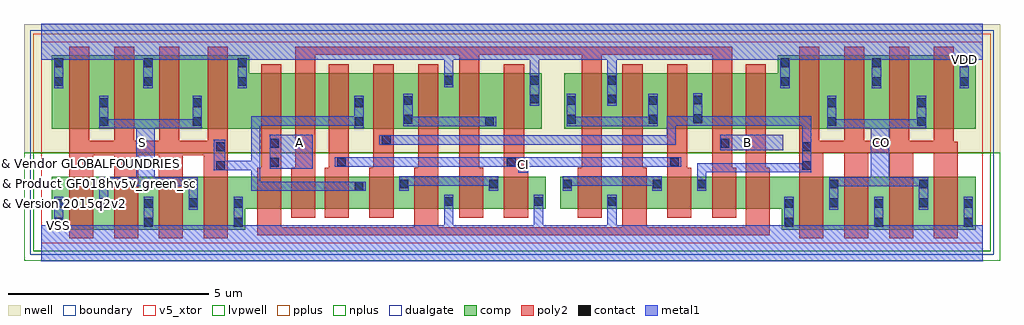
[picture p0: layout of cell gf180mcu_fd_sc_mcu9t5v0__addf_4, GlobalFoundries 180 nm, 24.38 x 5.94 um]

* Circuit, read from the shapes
.subckt gf180mcu_fd_sc_mcu9t5v0__addf_4 A B CI CO S VDD VSS
XM1 S n1 VSS VSUBS nfet_05v0 w=1.32u l=0.6u m=4
XM2 n2 A VSS VSUBS nfet_05v0 w=0.8u l=0.6u
XM3 n3 B n2 VSUBS nfet_05v0 w=0.8u l=0.6u
XM4 n1 CI n3 VSUBS nfet_05v0 w=0.8u l=0.6u
XM5 n4 n5 n1 VSUBS nfet_05v0 w=0.8u l=0.6u
XM6 VSS A n4 VSUBS nfet_05v0 w=0.8u l=0.6u
XM7 n4 B VSS VSUBS nfet_05v0 w=0.8u l=0.6u
XM8 VSS CI n4 VSUBS nfet_05v0 w=0.8u l=0.6u
XM9 VSS B n6 VSUBS nfet_05v0 w=0.8u l=0.6u
XM10 n6 A VSS VSUBS nfet_05v0 w=0.8u l=0.6u
XM11 n5 CI n6 VSUBS nfet_05v0 w=0.8u l=0.6u
XM12 n7 B n5 VSUBS nfet_05v0 w=0.8u l=0.6u
XM13 VSS A n7 VSUBS nfet_05v0 w=0.8u l=0.6u
XM14 CO n5 VSS VSUBS nfet_05v0 w=1.32u l=0.6u m=4
XM15 S n1 VDD n8 pfet_05v0 w=1.83u l=0.5u m=4
XM16 n9 A VDD n8 pfet_05v0 w=1.39u l=0.5u
XM17 n10 B n9 n8 pfet_05v0 w=1.39u l=0.5u
XM18 n1 CI n10 n8 pfet_05v0 w=1.39u l=0.5u
XM19 n11 n5 n1 n8 pfet_05v0 w=1.39u l=0.5u
XM20 VDD A n11 n8 pfet_05v0 w=1.39u l=0.5u
XM21 n11 B VDD n8 pfet_05v0 w=1.39u l=0.5u
XM22 VDD CI n11 n8 pfet_05v0 w=1.39u l=0.5u
XM23 VDD B n12 n8 pfet_05v0 w=1.39u l=0.5u
XM24 n12 A VDD n8 pfet_05v0 w=1.39u l=0.5u
XM25 n5 CI n12 n8 pfet_05v0 w=1.39u l=0.5u
XM26 n13 B n5 n8 pfet_05v0 w=1.39u l=0.5u
XM27 VDD A n13 n8 pfet_05v0 w=1.39u l=0.5u
XM28 CO n5 VDD n8 pfet_05v0 w=1.83u l=0.5u m=4
.ends

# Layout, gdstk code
import gdstk
lib = gdstk.Library(unit=1e-6, precision=1e-09)
def R(c, l, rs):  # rectangles x0, y0, x1, y1
    for r in rs: c.add(gdstk.rectangle(r[:2], r[2:], *l))
def A(c, l, x, y, w, h, nx, ny, dx, dy):  # array of equal rectangles
    R(c, l, [(x+i*dx, y+j*dy, x+i*dx+w, y+j*dy+h) for i in range(nx) for j in range(ny)])
def P(c, l, *ps):  # polygons
    for p in ps: c.add(gdstk.Polygon(p, *l))
boundary = (0, 0)
nwell = (21, 0)
comp = (22, 0)
poly2 = (30, 0)
pplus = (31, 0)
nplus = (32, 0)
contact = (33, 0)
metal1 = (34, 0)
dualgate = (55, 0)
v5_xtor = (112, 1)
lvpwell = (204, 0)

gf180mcu_fd_sc_mcu9t5v0_ = lib.new_cell('gf180mcu_fd_sc_mcu9t5v0__addf_4')
R(gf180mcu_fd_sc_mcu9t5v0_, boundary, [(0,0,23.52,5.04)])
R(gf180mcu_fd_sc_mcu9t5v0_, nwell, [(-0.43,2.265,23.95,5.47)])
P(gf180mcu_fd_sc_mcu9t5v0_, comp, [(0.26,2.865),(0.26,4.695),(5.2,4.695),(5.2,4.255),(12.5,4.255),(12.5,2.865)],
  [(0.26,0.345),(0.26,1.665),(12.6,1.665),(12.6,0.865),(5.1,0.865),(5.1,0.345)],
  [(18.5,0.345),(18.5,0.865),(12.96,0.865),(12.96,1.665),(23.34,1.665),(23.34,0.345)],
  [(13.06,2.865),(13.06,4.255),(18.4,4.255),(18.4,4.695),(23.34,4.695),(23.34,2.865)])
P(gf180mcu_fd_sc_mcu9t5v0_, poly2, [(0.7,0.125),(0.7,4.915),(1.2,4.915),(1.2,2.565),(1.82,2.565),(1.82,4.915),(2.32,4.915),(2.32,2.565),(2.945,2.565),(2.945,4.915),(3.445,4.915),(3.445,2.565),(4.16,2.565),(4.16,4.915),(4.66,4.915),(4.66,0.125),(4.06,0.125),(4.06,2.205),(3.54,2.205),(3.54,0.125),(2.94,0.125),(2.94,2.205),(2.42,2.205),(2.42,0.125),(1.82,0.125),(1.82,2.205),(1.3,2.205),(1.3,0.125)],
  [(7.08,0.645),(7.08,1.885),(7.18,1.885),(7.18,4.475),(7.68,4.475),(7.68,0.645)],
  [(8.2,0.645),(8.2,1.885),(8.3,1.885),(8.3,4.475),(8.8,4.475),(8.8,0.645)],
  [(11.56,0.645),(11.56,4.475),(12.06,4.475),(12.06,1.885),(12.16,1.885),(12.16,0.645)],
  [(15.64,0.645),(15.64,4.475),(16.14,4.475),(16.14,1.885),(16.24,1.885),(16.24,0.645)],
  [(6.24,0.645),(6.24,1.885),(6.34,1.885),(6.34,4.915),(17.26,4.915),(17.26,1.885),(17.36,1.885),(17.36,0.645),(16.76,0.645),(16.76,4.715),(14,4.715),(14,0.645),(13.4,0.645),(13.4,1.885),(13.5,1.885),(13.5,4.715),(10.94,4.715),(10.94,1.885),(11.04,1.885),(11.04,0.645),(10.44,0.645),(10.44,4.715),(6.84,4.715),(6.84,0.645)],
  [(5.4,0.205),(5.4,1.885),(5.5,1.885),(5.5,4.475),(6,4.475),(6,0.405),(9.32,0.405),(9.32,1.885),(9.42,1.885),(9.42,4.475),(9.92,4.475),(9.92,0.405),(14.52,0.405),(14.52,4.475),(15.02,4.475),(15.02,1.885),(15.12,1.885),(15.12,0.405),(17.6,0.405),(17.6,4.475),(18.1,4.475),(18.1,1.885),(18.2,1.885),(18.2,0.205)],
  [(18.94,0.125),(18.94,4.915),(19.44,4.915),(19.44,2.565),(20.06,2.565),(20.06,4.915),(20.56,4.915),(20.56,2.565),(21.18,2.565),(21.18,4.915),(21.68,4.915),(21.68,2.565),(22.3,2.565),(22.3,4.915),(22.8,4.915),(22.8,2.54),(22.9,2.54),(22.9,0.125),(22.3,0.125),(22.3,2.27),(21.78,2.27),(21.78,0.125),(21.18,0.125),(21.18,2.27),(20.66,2.27),(20.66,0.125),(20.06,0.125),(20.06,2.265),(19.54,2.265),(19.54,0.125)])
R(gf180mcu_fd_sc_mcu9t5v0_, pplus, [(-0.2,2.265,23.72,5.24)])
R(gf180mcu_fd_sc_mcu9t5v0_, nplus, [(-0.2,-0.2,23.72,2.265)])
A(gf180mcu_fd_sc_mcu9t5v0_, contact, 0.33, 0.415, 0.22, 0.22, 3, 2, 2.24, 0.47)
A(gf180mcu_fd_sc_mcu9t5v0_, contact, 18.57, 0.415, 0.22, 0.22, 3, 2, 2.24, 0.47)
R(gf180mcu_fd_sc_mcu9t5v0_, contact, [(1.45,0.905,1.67,1.125), (3.69,0.905,3.91,1.125), (19.69,0.905,19.91,1.125), (21.93,0.905,22.15,1.125), (10.07,0.935,10.29,1.155), (12.31,0.935,12.53,1.155), (14.15,0.935,14.37,1.155), (7.83,1.32,8.05,1.54), (1.45,1.375,1.67,1.595), (3.69,1.375,3.91,1.595), (8.95,1.375,9.17,1.595), (11.19,1.375,11.41,1.595), (13.03,1.375,13.25,1.595), (15.27,1.375,15.49,1.595), (16.39,1.375,16.61,1.595), (19.69,1.375,19.91,1.595), (21.93,1.375,22.15,1.595), (4.37,1.835,4.59,2.055), (19.01,1.835,19.23,2.055), (5.71,1.92,5.93,2.14), (7.39,1.925,7.61,2.145), (11.63,1.925,11.85,2.145), (15.71,1.925,15.93,2.145), (4.37,2.305,4.59,2.525), (19.01,2.305,19.23,2.525), (5.71,2.39,5.93,2.61), (16.97,2.39,17.19,2.61), (8.51,2.475,8.73,2.695), (1.45,2.935,1.67,3.155), (3.79,2.935,4.01,3.155), (7.83,2.935,8.05,3.155), (11.09,2.935,11.31,3.155), (19.64,2.935,19.86,3.155), (21.88,2.935,22.1,3.155), (9.05,2.99,9.27,3.21), (13.13,2.99,13.35,3.21), (15.17,2.99,15.39,3.21), (16.29,3,16.51,3.22), (1.45,3.405,1.67,3.625), (3.79,3.405,4.01,3.625), (7.83,3.405,8.05,3.625), (19.64,3.405,19.86,3.625), (21.88,3.405,22.1,3.625), (9.05,3.46,9.27,3.68), (13.13,3.46,13.35,3.68), (15.17,3.46,15.39,3.68), (16.29,3.47,16.51,3.69), (12.21,3.495,12.43,3.715), (14.15,3.495,14.37,3.715), (0.33,3.935,0.55,4.155), (2.56,3.935,2.78,4.155), (4.91,3.935,5.13,4.155), (18.47,3.935,18.69,4.155), (20.755,3.935,20.975,4.155), (22.95,3.935,23.17,4.155), (10.07,3.965,10.29,4.185), (12.21,3.965,12.43,4.185), (14.15,3.965,14.37,4.185), (0.33,4.405,0.55,4.625), (2.56,4.405,2.78,4.625), (4.91,4.405,5.13,4.625), (18.47,4.405,18.69,4.625), (20.755,4.405,20.975,4.625), (22.95,4.405,23.17,4.625)])
R(gf180mcu_fd_sc_mcu9t5v0_, metal1, [(5.705,1.86,6.785,2.71), (16.965,2.33,18.53,2.71)])
P(gf180mcu_fd_sc_mcu9t5v0_, metal1, [(1.445,0.845),(1.445,1.655),(2.38,1.655),(2.38,2.875),(1.445,2.875),(1.445,3.685),(1.675,3.685),(1.675,3.105),(3.785,3.105),(3.785,3.685),(4.015,3.685),(4.015,2.875),(2.84,2.875),(2.84,1.655),(3.915,1.655),(3.915,0.845),(3.685,0.845),(3.685,1.425),(1.675,1.425),(1.675,0.845)],
  [(5.245,1.315),(5.245,1.83),(4.31,1.83),(4.31,2.585),(4.595,2.585),(4.595,2.06),(5.245,2.06),(5.245,3.17),(7.825,3.17),(7.825,3.685),(8.055,3.685),(8.055,2.875),(7.825,2.875),(7.825,2.94),(5.475,2.94),(5.475,1.545),(8.11,1.545),(8.11,1.315)],
  [(9.045,2.93),(9.045,3.74),(9.275,3.74),(9.275,3.16),(11.37,3.16),(11.37,2.93)],
  [(8.945,1.315),(8.945,1.675),(11.415,1.675),(11.415,1.315),(11.185,1.315),(11.185,1.445),(9.175,1.445),(9.175,1.315)],
  [(13.125,2.93),(13.125,3.74),(13.355,3.74),(13.355,3.16),(15.165,3.16),(15.165,3.74),(15.395,3.74),(15.395,2.93)],
  [(13.025,1.315),(13.025,1.675),(15.495,1.675),(15.495,1.315),(15.265,1.315),(15.265,1.445),(13.255,1.445),(13.255,1.315)],
  [(11.91,1.77),(11.91,1.92),(7.33,1.92),(7.33,2.15),(15.99,2.15),(15.99,1.92),(12.17,1.92),(12.17,1.77)],
  [(16.385,1.315),(16.385,2.005),(19.005,2.005),(19.005,2.94),(15.855,2.94),(15.855,2.47),(8.45,2.47),(8.45,2.7),(15.625,2.7),(15.625,3.17),(16.285,3.17),(16.285,3.75),(16.515,3.75),(16.515,3.17),(19.235,3.17),(19.235,1.775),(16.615,1.775),(16.615,1.315)],
  [(19.685,0.845),(19.685,1.655),(20.725,1.655),(20.725,2.875),(19.635,2.875),(19.635,3.685),(19.865,3.685),(19.865,3.105),(21.875,3.105),(21.875,3.685),(22.105,3.685),(22.105,2.875),(21.185,2.875),(21.185,1.655),(22.155,1.655),(22.155,0.845),(21.925,0.845),(21.925,1.425),(19.915,1.425),(19.915,0.845)],
  [(0,-0.45),(0,0.45),(0.325,0.45),(0.325,1.165),(0.555,1.165),(0.555,0.45),(2.565,0.45),(2.565,1.165),(2.795,1.165),(2.795,0.45),(4.805,0.45),(4.805,1.165),(5.035,1.165),(5.035,0.45),(10.065,0.45),(10.065,1.215),(10.295,1.215),(10.295,0.45),(12.305,0.45),(12.305,1.215),(12.535,1.215),(12.535,0.45),(14.145,0.45),(14.145,1.215),(14.375,1.215),(14.375,0.45),(18.565,0.45),(18.565,1.165),(18.795,1.165),(18.795,0.45),(20.805,0.45),(20.805,1.165),(21.035,1.165),(21.035,0.45),(23.045,0.45),(23.045,1.165),(23.275,1.165),(23.275,0.45),(23.52,0.45),(23.52,-0.45)],
  [(12.205,3.435),(12.205,4.59),(10.295,4.59),(10.295,3.905),(10.065,3.905),(10.065,4.59),(5.135,4.59),(5.135,3.875),(4.905,3.875),(4.905,4.59),(2.785,4.59),(2.785,3.875),(2.555,3.875),(2.555,4.59),(0.555,4.59),(0.555,3.875),(0.325,3.875),(0.325,4.59),(0,4.59),(0,5.49),(23.52,5.49),(23.52,4.59),(23.175,4.59),(23.175,3.875),(22.945,3.875),(22.945,4.59),(20.98,4.59),(20.98,3.875),(20.75,3.875),(20.75,4.59),(18.695,4.59),(18.695,3.875),(18.465,3.875),(18.465,4.59),(14.375,4.59),(14.375,3.435),(14.145,3.435),(14.145,4.59),(12.435,4.59),(12.435,3.435)])
R(gf180mcu_fd_sc_mcu9t5v0_, dualgate, [(-0.28,-0.28,23.8,5.32)])
R(gf180mcu_fd_sc_mcu9t5v0_, v5_xtor, [(0,0,23.52,5.04)])
R(gf180mcu_fd_sc_mcu9t5v0_, lvpwell, [(-0.43,-0.43,23.95,2.265)])
gf180mcu_fd_sc_mcu9t5v0_.add(gdstk.Label('A', (6.44,2.52), layer=34, texttype=10))
gf180mcu_fd_sc_mcu9t5v0_.add(gdstk.Label('B', (17.64,2.52), layer=34, texttype=10))
gf180mcu_fd_sc_mcu9t5v0_.add(gdstk.Label('CI', (12.04,1.96), layer=34, texttype=10))
gf180mcu_fd_sc_mcu9t5v0_.add(gdstk.Label('CO', (21,2.52), layer=34, texttype=10))
gf180mcu_fd_sc_mcu9t5v0_.add(gdstk.Label('S', (2.52,2.52), layer=34, texttype=10))
gf180mcu_fd_sc_mcu9t5v0_.add(gdstk.Label('VDD', (23.06,4.59), layer=34, texttype=10))
gf180mcu_fd_sc_mcu9t5v0_.add(gdstk.Label('VSS', (0.44,0.45), layer=34, texttype=10))
gf180mcu_fd_sc_mcu9t5v0_.add(gdstk.Label('& Vendor GLOBALFOUNDRIES', (0,2), layer=63, texttype=63))
gf180mcu_fd_sc_mcu9t5v0_.add(gdstk.Label('& Product GF018hv5v_green_sc9', (0,1.5), layer=63, texttype=63))
gf180mcu_fd_sc_mcu9t5v0_.add(gdstk.Label('& Version 2015q2v2', (0,1), layer=63, texttype=63))
gf180mcu_fd_sc_mcu9t5v0_.add(gdstk.Label('& Metric 1.00', (0,0.5), layer=63, texttype=63))

lib.write_gds('gf180mcu_fd_sc_mcu9t5v0__addf_4.gds')
